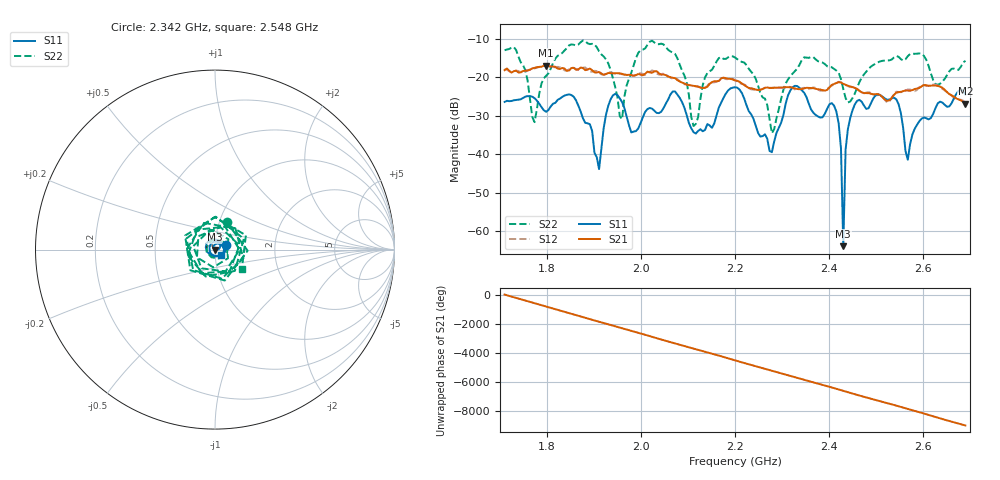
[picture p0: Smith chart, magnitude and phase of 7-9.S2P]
!Agilent Technologies,E5061B,MY49305579,A.02.22
!Date: Thu Aug 24 16:26:09 2017
!Data & Calibration Information:
!Freq	S11:SOLT2(ON)	S21:SOLT2(ON)	S12:SOLT2(ON)	S22:SOLT2(ON)
# Hz S dB R 50
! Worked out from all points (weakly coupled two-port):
!   201 points, 1.71 GHz to 2.69 GHz, reference 50 ohm
!   highest |S21| = -16.91 dB at 1.798 GHz (marker M1); lowest = -26.9 dB at 2.69 GHz (marker M2)
!   lowest |S11| = -63.9 dB at 2.43 GHz (marker M3), VSWR 1.00, Z = 49.9 - j0.0112 ohm
!   |S11| at or under -10 dB: start of sweep to end of sweep
!   |S22| runs from -34.5 to -10.4 dB; largest |S21 - S12| = 0.012
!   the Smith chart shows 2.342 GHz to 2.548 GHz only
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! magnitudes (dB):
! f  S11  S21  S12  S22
! 1.71 GHz  -26.4  -18.1  -17.8  -12.9
! 1.774 GHz  -25.4  -17.5  -17.7  -31.7
! 1.798 GHz  -29.0  -16.9  -16.8  -19.6
! 1.877 GHz  -30.6  -17.6  -17.5  -10.4
! 1.911 GHz  -43.9  -18.6  -18.8  -13.2
! 1.931 GHz  -27.4  -18.9  -18.8  -16.4
! 1.96 GHz  -26.5  -19.1  -19.2  -30.9
! 1.994 GHz  -33.3  -19.1  -19.1  -13.6
! 2.038 GHz  -29.3  -19.0  -19.3  -11.4
! 2.112 GHz  -34.3  -22.2  -22.3  -32.7
! 2.2 GHz  -22.6  -20.8  -20.7  -14.8
! 2.278 GHz  -39.5  -22.8  -22.7  -34.5
! 2.322 GHz  -22.6  -22.7  -22.8  -19.0
! 2.367 GHz  -29.2  -22.8  -22.6  -14.7
! 2.416 GHz  -28.9  -21.5  -21.5  -18.2
! 2.425 GHz  -38.5  -21.4  -21.3  -20.5
! 2.43 GHz  -63.9  -21.7  -21.7  -23.0
! 2.435 GHz  -38.8  -21.9  -22.0  -25.4
! 2.45 GHz  -28.6  -22.5  -22.6  -25.4
! 2.528 GHz  -25.8  -26.0  -26.4  -15.6
! 2.567 GHz  -41.4  -23.4  -23.2  -14.5
! 2.69 GHz  -24.5  -26.9  -26.7  -15.7
